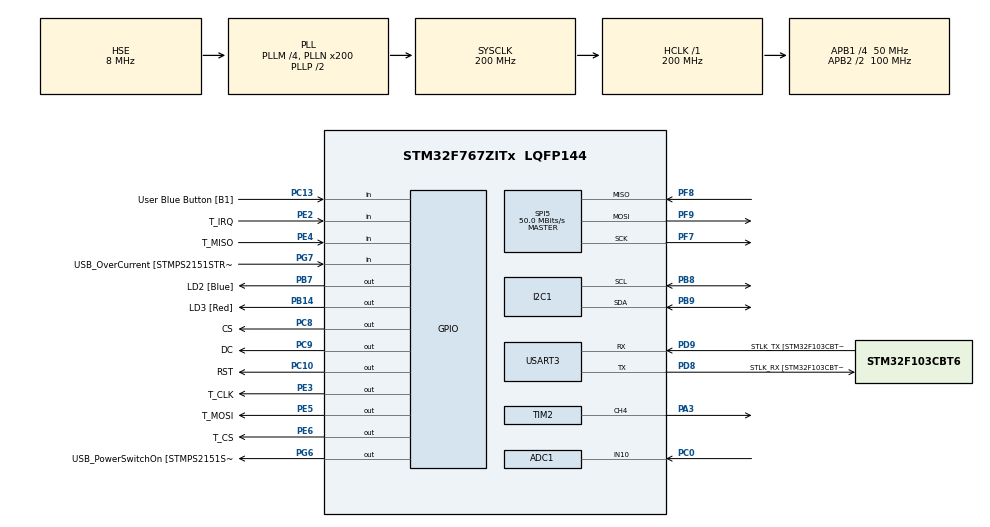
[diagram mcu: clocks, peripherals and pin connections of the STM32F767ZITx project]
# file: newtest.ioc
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ADC1.Channel-0\#ChannelRegularConversion=ADC_CHANNEL_10
ADC1.ContinuousConvMode=ENABLE
ADC1.EOCSelection=ADC_EOC_SEQ_CONV
ADC1.NbrOfConversionFlag=1
ADC1.Rank-0\#ChannelRegularConversion=1
ADC1.SamplingTime-0\#ChannelRegularConversion=ADC_SAMPLETIME_3CYCLES
ADC1.master=1
CORTEX_M7.ART_ACCLERATOR_ENABLE=1
CORTEX_M7.CPU_DCache=Enabled
CORTEX_M7.CPU_ICache=Enabled
CORTEX_M7.PREFETCH_ENABLE=1
I2C1.Timing=0x00C0EAFF
Mcu.Family=STM32F7
Mcu.Name=STM32F767ZITx
Mcu.Package=LQFP144
NVIC.PriorityGroup=NVIC_PRIORITYGROUP_4
NVIC.TIM1_UP_TIM10_IRQn=true\:1\:0\:true\:false\:true\:true\:true\:true
NVIC.TIM2_IRQn=true\:2\:0\:true\:false\:true\:true\:true\:true
PA1.GPIO_Label=RMII_REF_CLK [LAN8742A-CZ-TR_REFCLK0]
PA1.Signal=ETH_REF_CLK
PA13.GPIO_Label=TMS
PA13.Mode=Serial_Wire
PA13.Signal=SYS_JTMS-SWDIO
PA14.GPIO_Label=TCK
PA14.Mode=Serial_Wire
PA14.Signal=SYS_JTCK-SWCLK
PA2.GPIO_Label=RMII_MDIO [LAN8742A-CZ-TR_MDIO]
PA2.Signal=ETH_MDIO
PA3.GPIO_Speed=GPIO_SPEED_FREQ_LOW
PA3.Signal=S_TIM2_CH4
PA7.GPIO_Label=RMII_CRS_DV [LAN8742A-CZ-TR_CRS_DV]
PA7.Signal=ETH_CRS_DV
PB13.GPIO_Label=RMII_TXD1 [LAN8742A-CZ-TR_TXD1]
PB13.Signal=ETH_TXD1
PB14.GPIO_Label=LD3 [Red]
PB14.Signal=GPIO_Output
PB3.GPIO_Label=SWO
PB3.Signal=SYS_JTDO-SWO
PB7.GPIO_Label=LD2 [Blue]
PB7.Signal=GPIO_Output
PB8.Mode=I2C
PB8.Signal=I2C1_SCL
PB9.Mode=I2C
PB9.Signal=I2C1_SDA
PC0.Signal=ADCx_IN10
PC1.GPIO_Label=RMII_MDC [LAN8742A-CZ-TR_MDC]
PC1.Signal=ETH_MDC
PC10.GPIO_Label=RST
PC10.GPIO_Speed=GPIO_SPEED_FREQ_VERY_HIGH
PC10.Signal=GPIO_Output
PC13.GPIO_Label=User Blue Button [B1]
PC13.Signal=GPIO_Input
PC14/OSC32_IN.Mode=LSE-External-Oscillator
PC14/OSC32_IN.Signal=RCC_OSC32_IN
PC15/OSC32_OUT.Mode=LSE-External-Oscillator
PC15/OSC32_OUT.Signal=RCC_OSC32_OUT
PC4.GPIO_Label=RMII_RXD0 [LAN8742A-CZ-TR_RXD0]
PC4.Signal=ETH_RXD0
PC5.GPIO_Label=RMII_RXD1 [LAN8742A-CZ-TR_RXD1]
PC5.Signal=ETH_RXD1
PC8.GPIO_Label=CS
PC8.GPIO_Speed=GPIO_SPEED_FREQ_VERY_HIGH
PC8.Signal=GPIO_Output
PC9.GPIO_Label=DC
PC9.GPIO_Speed=GPIO_SPEED_FREQ_VERY_HIGH
PC9.Signal=GPIO_Output
PD8.GPIO_Label=STLK_RX [STM32F103CBT6_PA3]
PD8.Mode=Asynchronous
PD8.Signal=USART3_TX
PD9.GPIO_Label=STLK_TX [STM32F103CBT6_PA2]
PD9.Mode=Asynchronous
PD9.Signal=USART3_RX
PE2.GPIO_Label=T_IRQ
PE2.Signal=GPIO_Input
PE3.GPIO_Label=T_CLK
PE3.GPIO_Speed=GPIO_SPEED_FREQ_VERY_HIGH
PE3.Signal=GPIO_Output
PE4.GPIO_Label=T_MISO
PE4.Signal=GPIO_Input
PE5.GPIO_Label=T_MOSI
PE5.GPIO_Speed=GPIO_SPEED_FREQ_VERY_HIGH
PE5.Signal=GPIO_Output
PE6.GPIO_Label=T_CS
PE6.GPIO_Speed=GPIO_SPEED_FREQ_VERY_HIGH
PE6.Signal=GPIO_Output
PF7.Mode=Full_Duplex_Master
PF7.Signal=SPI5_SCK
PF8.Mode=Full_Duplex_Master
PF8.Signal=SPI5_MISO
PF9.Mode=Full_Duplex_Master
PF9.Signal=SPI5_MOSI
PG11.GPIO_Label=RMII_TX_EN [LAN8742A-CZ-TR_TXEN]
PG11.Signal=ETH_TX_EN
PG13.GPIO_Label=RMII_TXD0 [LAN8742A-CZ-TR_TXD0]
PG13.Signal=ETH_TXD0
PG6.GPIO_Label=USB_PowerSwitchOn [STMPS2151STR_EN]
PG6.Signal=GPIO_Output
PG7.GPIO_Label=USB_OverCurrent [STMPS2151STR_FAULT]
PG7.Signal=GPIO_Input
PH0/OSC_IN.GPIO_Label=MCO [STM32F103CBT6_PA8]
PH0/OSC_IN.Mode=HSE-External-Clock-Source
PH0/OSC_IN.Signal=RCC_OSC_IN
PH1/OSC_OUT.Mode=HSE-External-Clock-Source
PH1/OSC_OUT.Signal=RCC_OSC_OUT
ProjectManager.HeapSize=0x200
ProjectManager.StackSize=0x400
ProjectManager.TargetToolchain=STM32CubeIDE
RCC.48MHZClocksFreq_Value=24000000
RCC.AHBFreq_Value=200000000
RCC.APB1CLKDivider=RCC_HCLK_DIV4
RCC.APB1Freq_Value=50000000
RCC.APB1TimFreq_Value=100000000
RCC.APB2CLKDivider=RCC_HCLK_DIV2
RCC.APB2Freq_Value=100000000
RCC.APB2TimFreq_Value=200000000
RCC.CortexFreq_Value=200000000
RCC.HCLKFreq_Value=200000000
RCC.HSE_VALUE=8000000
RCC.HSI_VALUE=16000000
RCC.PLLM=4
RCC.PLLMUL=RCC_PLL_MUL9
RCC.PLLN=200
RCC.PLLQ=9
RCC.PLLSourceVirtual=RCC_PLLSOURCE_HSE
RCC.PRESCALERUSB=RCC_USBCLKSOURCE_PLL_DIV1_5
RCC.SYSCLKFreq_VALUE=200000000
RCC.SYSCLKSource=RCC_SYSCLKSOURCE_PLLCLK
RCC.SYSCLKSourceVirtual=RCC_SYSCLKSOURCE_PLLCLK
RCC.USBFreq_Value=44444444.44444445
RCC.VCOOutputFreq_Value=400000000
SH.ADCx_IN10.0=ADC1_IN10,IN10
SH.S_TIM2_CH4.0=TIM2_CH4,PWM Generation4 CH4
SPI5.CalculateBaudRate=50.0 MBits/s
SPI5.DataSize=SPI_DATASIZE_8BIT
SPI5.Direction=SPI_DIRECTION_2LINES
SPI5.Mode=SPI_MODE_MASTER
SPI5.NSSPMode=SPI_NSS_PULSE_DISABLE
SPI5.VirtualType=VM_MASTER
TIM1.ClockDivision=TIM_CLOCKDIVISION_DIV1
TIM1.Period=65536-1
TIM1.Prescaler=20000-1
TIM2.Channel-PWM\ Generation4\ CH4=TIM_CHANNEL_4
TIM2.Period=199
TIM2.Prescaler=539
USART3.VirtualMode-Asynchronous=VM_ASYNC
VP_RNG_VS_RNG.Mode=RNG_Activate
VP_TIM1_VS_ClockSourceINT.Mode=Internal
VP_TIM2_VS_ClockSourceINT.Mode=Internal
board=NUCLEO-F767ZI

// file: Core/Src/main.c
/* USER CODE BEGIN Header */
/**
  ******************************************************************************
  * @file           : main.c
  * @brief          : Main program body
  ******************************************************************************
  * @attention
  *
  * Copyright (c) 2024 STMicroelectronics.
  * All rights reserved.
  *
  * This software is licensed under terms that can be found in the LICENSE file
  * in the root directory of this software component.
  * If no LICENSE file comes with this software, it is provided AS-IS.
  *
  ******************************************************************************
  */
/* USER CODE END Header */
#include "main.h"
#include "adc.h"
#include "i2c.h"
#include "rng.h"
#include "spi.h"
#include "tim.h"
#include "usart.h"
#include "gpio.h"

/* USER CODE BEGIN Includes */
#include "stdio.h"
#include "ILI9341_Touchscreen.h"

#include "ILI9341_STM32_Driver.h"
#include "ILI9341_GFX.h"

#include "snow_tiger.h"

#include "string.h"
#include <stdlib.h>
#include "stm32f7xx_hal.h"
#include "stdbool.h"
/* USER CODE END Includes */

void SystemClock_Config(void);

/* USER CODE BEGIN 0 */
volatile uint32_t adc_val = 0;
int dutyCycle = 0;
int debug = 0;
/* USER CODE END 0 */

int main(void)
{

  /* Enable the CPU Cache */

  /* Enable I-Cache---------------------------------------------------------*/
  SCB_EnableICache();

  /* Enable D-Cache---------------------------------------------------------*/
  SCB_EnableDCache();

  /* MCU Configuration--------------------------------------------------------*/

  /* Reset of all peripherals, Initializes the Flash interface and the Systick. */
  HAL_Init();

  /* Configure the system clock */
  SystemClock_Config();

  /* Initialize all configured peripherals */
  MX_GPIO_Init();
  MX_SPI5_Init();
  MX_TIM1_Init();
  MX_RNG_Init();
  MX_I2C1_Init();
  MX_TIM2_Init();
  MX_ADC1_Init();
  MX_USART3_UART_Init();
  /* USER CODE BEGIN 2 */
  ILI9341_Init();
  HAL_ADC_Start(&hadc1);
  ILI9341_Fill_Screen(WHITE);
  ILI9341_Set_Rotation(SCREEN_HORIZONTAL_1);

  char buffer[1000];
  sprintf(buffer, sizeof(buffer), "%s %%", dutyCycle);
  ILI9341_Draw_Text(buffer, 110, 85, RED, 2, WHITE);
  /* USER CODE END 2 */

  /* Infinite loop */
  while (1)
  {

    /* USER CODE BEGIN 3 */
//	while(HAL_ADC_PollForConversion(&hadc1, 100) != HAL_OK) {}
//	adc_val = HAL_ADC_GetValue(&hadc1);
//
//	// 25% - 80%
//	// adc -> 0 - 55
//	// 4096 / 55 -> 74
//	// 4096 / 11 -> 372
//	// adc / 74 + 25
//	debug = adc_val / 372;
//	dutyCycle = ((adc_val / 372) * 5) + 25;
//	char buffer[1000];
//
//	sprintf(buffer, sizeof(buffer), "%s %%", dutyCycle);
//	if (dutyCycle >= 25 && dutyCycle <= 45) {
//		ILI9341_Draw_Text(buffer, 110, 85, RED, 2, WHITE);
//	} else if (dutyCycle >= 50 && dutyCycle <= 65) {
//		ILI9341_Draw_Text(buffer, 110, 85, RED, 2, WHITE);
//	} else if (dutyCycle >= 70 && dutyCycle <= 80) {
//		ILI9341_Draw_Text(buffer, 110, 85, RED, 2, WHITE);
//	}

  }
  /* USER CODE END 3 */
}

void SystemClock_Config(void)
{
  RCC_OscInitTypeDef RCC_OscInitStruct = {0};
  RCC_ClkInitTypeDef RCC_ClkInitStruct = {0};

  /** Configure LSE Drive Capability
  */
  HAL_PWR_EnableBkUpAccess();

  /** Configure the main internal regulator output voltage
  */
  __HAL_RCC_PWR_CLK_ENABLE();
  __HAL_PWR_VOLTAGESCALING_CONFIG(PWR_REGULATOR_VOLTAGE_SCALE1);

  /** Initializes the RCC Oscillators according to the specified parameters
  * in the RCC_OscInitTypeDef structure.
  */
  RCC_OscInitStruct.OscillatorType = RCC_OSCILLATORTYPE_HSE;
  RCC_OscInitStruct.HSEState = RCC_HSE_BYPASS;
  RCC_OscInitStruct.PLL.PLLState = RCC_PLL_ON;
  RCC_OscInitStruct.PLL.PLLSource = RCC_PLLSOURCE_HSE;
  RCC_OscInitStruct.PLL.PLLM = 4;
  RCC_OscInitStruct.PLL.PLLN = 200;
  RCC_OscInitStruct.PLL.PLLP = RCC_PLLP_DIV2;
  RCC_OscInitStruct.PLL.PLLQ = 9;
  RCC_OscInitStruct.PLL.PLLR = 2;
  if (HAL_RCC_OscConfig(&RCC_OscInitStruct) != HAL_OK)
  {
    Error_Handler();
  }

  /** Activate the Over-Drive mode
  */
  if (HAL_PWREx_EnableOverDrive() != HAL_OK)
  {
    Error_Handler();
  }

  /** Initializes the CPU, AHB and APB buses clocks
  */
  RCC_ClkInitStruct.ClockType = RCC_CLOCKTYPE_HCLK|RCC_CLOCKTYPE_SYSCLK
                              |RCC_CLOCKTYPE_PCLK1|RCC_CLOCKTYPE_PCLK2;
  RCC_ClkInitStruct.SYSCLKSource = RCC_SYSCLKSOURCE_PLLCLK;
  RCC_ClkInitStruct.AHBCLKDivider = RCC_SYSCLK_DIV1;
  RCC_ClkInitStruct.APB1CLKDivider = RCC_HCLK_DIV4;
  RCC_ClkInitStruct.APB2CLKDivider = RCC_HCLK_DIV2;

  if (HAL_RCC_ClockConfig(&RCC_ClkInitStruct, FLASH_LATENCY_6) != HAL_OK)
  {
    Error_Handler();
  }
}

void Error_Handler(void)
{
  __disable_irq();
  while (1)
  {
  }
}
